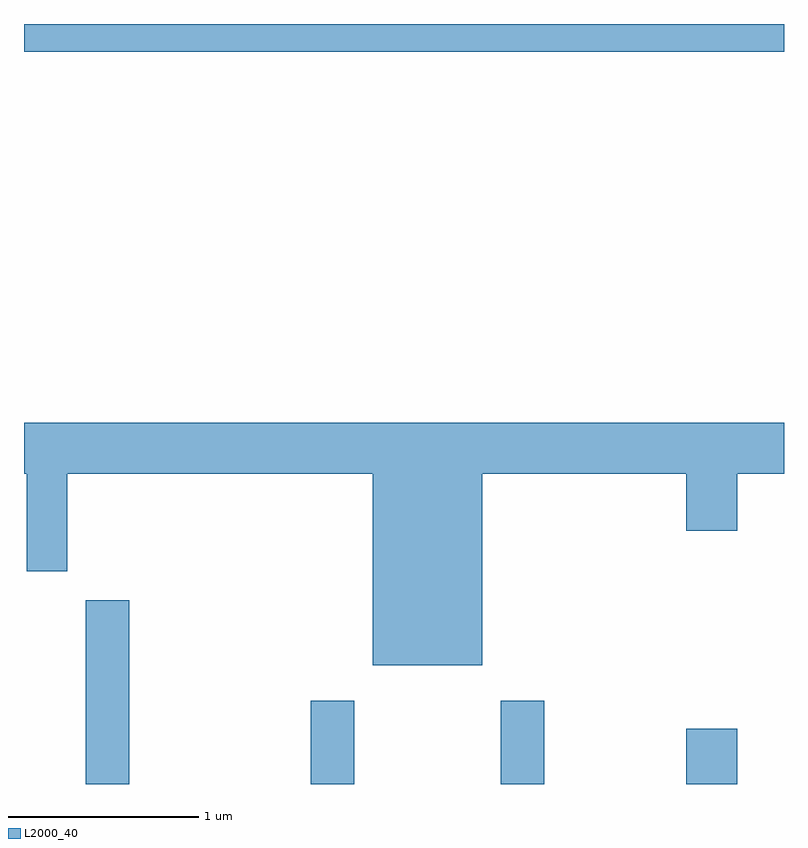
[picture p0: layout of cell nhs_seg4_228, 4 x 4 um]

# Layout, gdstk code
import gdstk
lib = gdstk.Library(unit=1e-6, precision=1e-09)
def R(c, l, rs):  # rectangles x0, y0, x1, y1
    for r in rs: c.add(gdstk.rectangle(r[:2], r[2:], *l))
def P(c, l, *ps):  # polygons
    for p in ps: c.add(gdstk.Polygon(p, *l))
L2000_40 = (2000, 40)

nhs_seg4_228 = lib.new_cell('nhs_seg4_228')
R(nhs_seg4_228, L2000_40, [(191.936,1301.982,192.164,1302.949), (193.121,1301.982,193.349,1302.419), (194.121,1301.982,194.349,1302.419), (195.096,1301.982,195.364,1302.274), (191.611,1305.836,195.611,1305.982)])
P(nhs_seg4_228, L2000_40, [(194.024,1303.616),(195.096,1303.616),(195.096,1303.316),(195.364,1303.316),(195.364,1303.616),(195.611,1303.616),(195.611,1303.884),(191.611,1303.884),(191.611,1303.616),(191.626,1303.616),(191.626,1303.101),(191.839,1303.101),(191.839,1303.616),(193.446,1303.616),(193.446,1302.606),(194.024,1302.606)])

lib.write_gds('nhs_seg4_228.gds')
